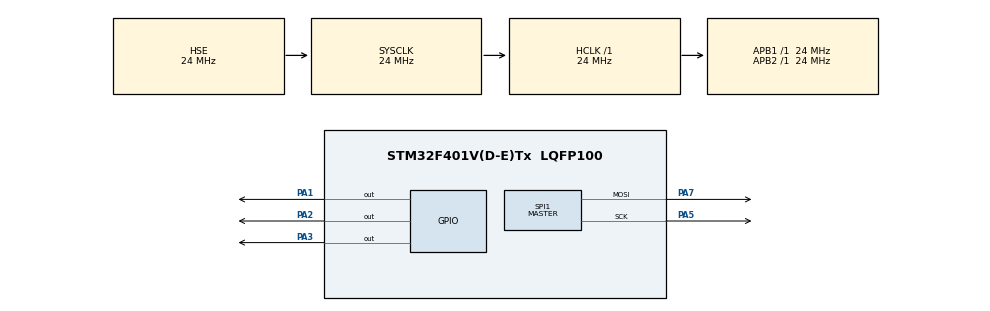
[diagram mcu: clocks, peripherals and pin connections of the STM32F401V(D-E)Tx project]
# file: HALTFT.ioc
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Mcu.Family=STM32F4
Mcu.Name=STM32F401V(D-E)Tx
Mcu.Package=LQFP100
NVIC.PriorityGroup=NVIC_PRIORITYGROUP_4
NVIC.TIM1_UP_TIM10_IRQn=true\:0\:0\:false\:false\:true\:true\:true\:true
PA1.Signal=GPIO_Output
PA2.Signal=GPIO_Output
PA3.Signal=GPIO_Output
PA5.Mode=TX_Only_Simplex_Unidirect_Master
PA5.Signal=SPI1_SCK
PA7.Mode=TX_Only_Simplex_Unidirect_Master
PA7.Signal=SPI1_MOSI
PH0\ -\ OSC_IN.Mode=HSE-External-Oscillator
PH0\ -\ OSC_IN.Signal=RCC_OSC_IN
PH1\ -\ OSC_OUT.Mode=HSE-External-Oscillator
PH1\ -\ OSC_OUT.Signal=RCC_OSC_OUT
ProjectManager.HeapSize=0x200
ProjectManager.StackSize=0x500
ProjectManager.TargetToolchain=MDK-ARM V5.32
RCC.AHBFreq_Value=24000000
RCC.APB1Freq_Value=24000000
RCC.APB1TimFreq_Value=24000000
RCC.APB2Freq_Value=24000000
RCC.APB2TimFreq_Value=24000000
RCC.CortexFreq_Value=24000000
RCC.HCLKFreq_Value=24000000
RCC.HSE_VALUE=24000000
RCC.HSI_VALUE=16000000
RCC.LSE_VALUE=32768
RCC.SYSCLKFreq_VALUE=24000000
RCC.SYSCLKSource=RCC_SYSCLKSOURCE_HSE
RCC.VCOOutputFreq_Value=192000000
SPI1.BaudRatePrescaler=SPI_BAUDRATEPRESCALER_2
SPI1.Direction=SPI_DIRECTION_2LINES
SPI1.Mode=SPI_MODE_MASTER
SPI1.VirtualType=VM_MASTER
TIM10.Period=240-1
TIM10.Prescaler=24-1
VP_TIM10_VS_ClockSourceINT.Mode=Enable_Timer
board=custom

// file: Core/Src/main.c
/* USER CODE BEGIN Header */
/**
  ******************************************************************************
  * @file           : main.c
  * @brief          : Main program body
  ******************************************************************************
  * @attention
  *
  * Copyright (c) 2024 STMicroelectronics.
  * All rights reserved.
  *
  * This software is licensed under terms that can be found in the LICENSE file
  * in the root directory of this software component.
  * If no LICENSE file comes with this software, it is provided AS-IS.
  *
  ******************************************************************************
  */
/* USER CODE END Header */
#include "main.h"

/* USER CODE BEGIN Includes */
#include <string.h>
#include <stdarg.h>
#include "ili9341.h"
#include "ili9341_touch.h"
#include "fonts.h"
#include "hanzi.h"
#include "lv_port_disp.h"
#include "lv_port_indev.h"
#include "lvgl.h"

//#include "lv_font.h"
/* USER CODE END Includes */

/* USER CODE BEGIN PTD */
#define LV_USE_GAUGE 1
/* USER CODE END PTD */

SPI_HandleTypeDef hspi1;

TIM_HandleTypeDef htim10;

void SystemClock_Config(void);
static void MX_GPIO_Init(void);
static void MX_SPI1_Init(void);
static void MX_TIM10_Init(void);
/* USER CODE BEGIN PFP */
#define scr_act_width() lv_obj_get_width(lv_scr_act())
#define scr_act_height() lv_obj_get_height(lv_scr_act())

void DashBoard(void) {
	//时钟
	  lv_obj_set_style_bg_color(lv_scr_act(), lv_color_make(0,0,255), LV_PART_MAIN);//设置初始化屏幕颜色
    lv_obj_t* meter = lv_meter_create(lv_scr_act());  //定义并创建仪表
    lv_obj_set_size(meter, 180, 180);       //设置仪表宽度高度
    lv_obj_set_x(meter, 30);
    lv_obj_set_y(meter, 95);
	  lv_obj_set_style_bg_color(meter, lv_color_hex(0x00ff00), LV_PART_MAIN);
    lv_meter_scale_t* scale_min = lv_meter_add_scale(meter);
    lv_meter_set_scale_ticks(meter, scale_min, 61, 1, 5, lv_palette_main(LV_PALETTE_GREY));
    lv_meter_set_scale_range(meter, scale_min, 0, 60, 360, 270);
    lv_meter_scale_t* scale_hour = lv_meter_add_scale(meter);   //定义并添加刻度
    lv_meter_set_scale_ticks(meter, scale_hour, 12, 1, 1, lv_palette_main(LV_PALETTE_PINK));    //设置小刻度
    lv_meter_set_scale_major_ticks(meter, scale_hour, 1, 2, 10, lv_color_hex(0x00ff00), 10);          //设置主刻度
    lv_meter_set_scale_range(meter, scale_hour, 1, 12, 330, 300);
    lv_meter_indicator_t* indic_hour;
    indic_hour = lv_meter_add_needle_line(meter, scale_hour, 6,lv_palette_main(LV_PALETTE_BLUE), -30);
	//添加仪表指针
    lv_meter_set_indicator_value(meter, indic_hour,11);      //设置指针指向的数值
    lv_meter_indicator_t* indic_min;
    indic_min = lv_meter_add_needle_line(meter, scale_min, 3,lv_palette_main(LV_PALETTE_RED), -10);
    lv_meter_set_indicator_value(meter, indic_min,59);

//	  lv_obj_set_style_bg_color(lv_scr_act(), lv_color_make(0,0,255), LV_PART_MAIN);//设置初始化屏幕颜色
//    lv_obj_t* meter = lv_meter_create(lv_scr_act());  //创建仪表
//    lv_obj_set_width(meter, scr_act_height() * 0.4);  //设置仪表宽度
//    lv_obj_set_height(meter, scr_act_height() * 0.4); //设置仪表高度
//
//    lv_obj_center(meter);
//    //lv_obj_set_style_bg_color(meter, lv_color_make(0,0,0), LV_PART_MAIN);//设置控件背景色
//	  lv_obj_set_style_bg_color(meter, lv_color_hex(0x00ff00), LV_PART_MAIN);
//    //设置仪表刻度
//    lv_meter_scale_t* scale = lv_meter_add_scale(meter); //添加刻度
//    lv_meter_set_scale_ticks(meter, scale, 41, 1, scr_act_height() / 80,
//                             lv_color_hex(0xdf5345));//LV_PALETTE_GREY));
//    lv_meter_set_scale_major_ticks(meter, scale, 8, 1, scr_act_height() / 60,
//                                   lv_color_hex(0x00ff00), scr_act_height() / 30);
}

/* USER CODE END PFP */

/* USER CODE BEGIN 0 */
void Display_init() {
    ILI9341_Unselect();
    ILI9341_TouchUnselect();
    ILI9341_Init();
}

void ILI9341_Show_Chinese( uint16_t x, uint16_t y, uint8_t* font, uint8_t size, uint32_t fColor, uint32_t bColor)
{
    uint8_t temp;
	uint16_t y0=y;
	uint8_t csize=(size/8+((size%8)?1:0))*(size);	// 得到字体一个字符对应点阵集所占的字节数
	for(uint8_t t=0; t<csize; t++)
	{
		temp = font[t];
		for(uint8_t t1=0; t1<8; t1++)
		{
			if(temp&0x80)   ILI9341_DrawPixel(x, y, fColor);
            else            ILI9341_DrawPixel(x, y, bColor);
			temp<<=1;
			y++;
			if((y-y0)==size)
			{
				y=y0;
				x++;
				break;
			}
		}
	}
}

void HAL_TIM_PeriodElapsedCallback(TIM_HandleTypeDef *htim)
{
    if (htim->Instance == TIM10)                     // 判断是哪个TIM产生的中断
    {
    	 // 在这里调用LVGL的心跳函数
        lv_tick_inc(1);                             // 给LVGL提供1ms的心跳时期

    }
}
/* USER CODE END 0 */

int main(void)
{
  /* Reset of all peripherals, Initializes the Flash interface and the Systick. */
  HAL_Init();
  /* Configure the system clock */
  SystemClock_Config();
  /* Initialize all configured peripherals */
  MX_GPIO_Init();
  MX_SPI1_Init();
  MX_TIM10_Init();
  /* USER CODE BEGIN 2 */
  Display_init();
	lv_init();                  // lvgl初始
  lv_port_disp_init();        // 显示器初始化
  lv_port_indev_init();       // 输入设备初始
   HAL_TIM_Base_Init(&htim10);
   HAL_TIM_Base_Start_IT(&htim10); // 使用中断模式启动TIM10
	 DashBoard();
  /* USER CODE END 2 */

  /* Infinite loop */
  while (1)
  {
    /* USER CODE BEGIN 3 */
		lv_task_handler();
  }
  /* USER CODE END 3 */
}

void SystemClock_Config(void)
{
  RCC_OscInitTypeDef RCC_OscInitStruct = {0};
  RCC_ClkInitTypeDef RCC_ClkInitStruct = {0};

  /** Configure the main internal regulator output voltage
  */
  __HAL_RCC_PWR_CLK_ENABLE();
  __HAL_PWR_VOLTAGESCALING_CONFIG(PWR_REGULATOR_VOLTAGE_SCALE2);

  /** Initializes the RCC Oscillators according to the specified parameters
  * in the RCC_OscInitTypeDef structure.
  */
  RCC_OscInitStruct.OscillatorType = RCC_OSCILLATORTYPE_HSE;
  RCC_OscInitStruct.HSEState = RCC_HSE_ON;
  RCC_OscInitStruct.PLL.PLLState = RCC_PLL_NONE;
  if (HAL_RCC_OscConfig(&RCC_OscInitStruct) != HAL_OK)
  {
    Error_Handler();
  }

  /** Initializes the CPU, AHB and APB buses clocks
  */
  RCC_ClkInitStruct.ClockType = RCC_CLOCKTYPE_HCLK|RCC_CLOCKTYPE_SYSCLK
                              |RCC_CLOCKTYPE_PCLK1|RCC_CLOCKTYPE_PCLK2;
  RCC_ClkInitStruct.SYSCLKSource = RCC_SYSCLKSOURCE_HSE;
  RCC_ClkInitStruct.AHBCLKDivider = RCC_SYSCLK_DIV1;
  RCC_ClkInitStruct.APB1CLKDivider = RCC_HCLK_DIV1;
  RCC_ClkInitStruct.APB2CLKDivider = RCC_HCLK_DIV1;

  if (HAL_RCC_ClockConfig(&RCC_ClkInitStruct, FLASH_LATENCY_0) != HAL_OK)
  {
    Error_Handler();
  }
}

static void MX_SPI1_Init(void)
{

  /* SPI1 parameter configuration*/
  hspi1.Instance = SPI1;
  hspi1.Init.Mode = SPI_MODE_MASTER;
  hspi1.Init.Direction = SPI_DIRECTION_2LINES;
  hspi1.Init.DataSize = SPI_DATASIZE_8BIT;
  hspi1.Init.CLKPolarity = SPI_POLARITY_LOW;
  hspi1.Init.CLKPhase = SPI_PHASE_1EDGE;
  hspi1.Init.NSS = SPI_NSS_SOFT;
  hspi1.Init.BaudRatePrescaler = SPI_BAUDRATEPRESCALER_2;
  hspi1.Init.FirstBit = SPI_FIRSTBIT_MSB;
  hspi1.Init.TIMode = SPI_TIMODE_DISABLE;
  hspi1.Init.CRCCalculation = SPI_CRCCALCULATION_DISABLE;
  hspi1.Init.CRCPolynomial = 10;
  if (HAL_SPI_Init(&hspi1) != HAL_OK)
  {
    Error_Handler();
  }

}

static void MX_TIM10_Init(void)
{

  htim10.Instance = TIM10;
  htim10.Init.Prescaler = 24-1;
  htim10.Init.CounterMode = TIM_COUNTERMODE_UP;
  htim10.Init.Period = 240-1;
  htim10.Init.ClockDivision = TIM_CLOCKDIVISION_DIV1;
  htim10.Init.AutoReloadPreload = TIM_AUTORELOAD_PRELOAD_DISABLE;
  if (HAL_TIM_Base_Init(&htim10) != HAL_OK)
  {
    Error_Handler();
  }

}

static void MX_GPIO_Init(void)
{
  GPIO_InitTypeDef GPIO_InitStruct = {0};

  /* GPIO Ports Clock Enable */
  __HAL_RCC_GPIOH_CLK_ENABLE();
  __HAL_RCC_GPIOA_CLK_ENABLE();

  /*Configure GPIO pin Output Level */
  HAL_GPIO_WritePin(GPIOA, GPIO_PIN_1|GPIO_PIN_2|GPIO_PIN_3, GPIO_PIN_RESET);

  /*Configure GPIO pins : PA1 PA2 PA3 */
  GPIO_InitStruct.Pin = GPIO_PIN_1|GPIO_PIN_2|GPIO_PIN_3;
  GPIO_InitStruct.Mode = GPIO_MODE_OUTPUT_PP;
  GPIO_InitStruct.Pull = GPIO_NOPULL;
  GPIO_InitStruct.Speed = GPIO_SPEED_FREQ_LOW;
  HAL_GPIO_Init(GPIOA, &GPIO_InitStruct);

}

void Error_Handler(void)
{
  __disable_irq();
  while (1)
  {
  }
}
